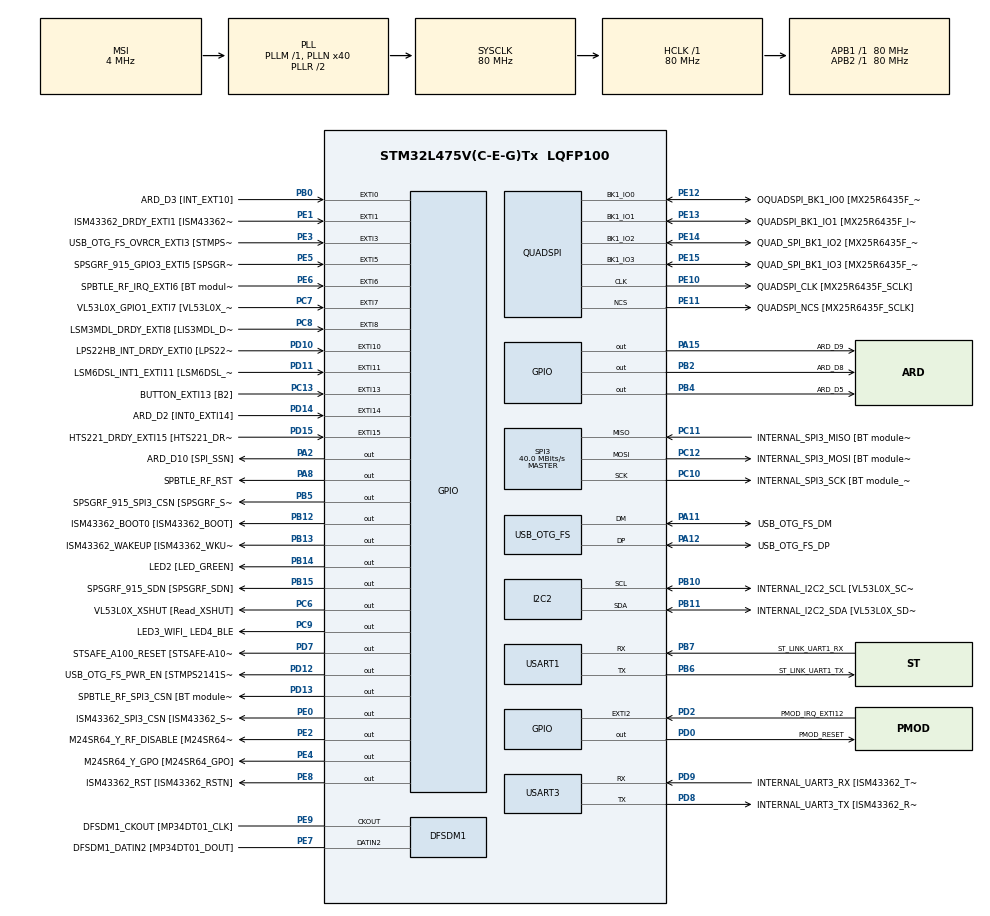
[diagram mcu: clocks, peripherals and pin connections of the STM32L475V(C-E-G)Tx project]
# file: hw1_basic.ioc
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FREERTOS.Tasks01=defaultTask,24,128,StartDefaultTask,Default,NULL,Dynamic,NULL,NULL
FREERTOS.configTOTAL_HEAP_SIZE=8000
Mcu.Family=STM32L4
Mcu.Name=STM32L475V(C-E-G)Tx
Mcu.Package=LQFP100
NVIC.EXTI15_10_IRQn=true\:5\:0\:false\:false\:true\:true\:true\:true\:true
NVIC.EXTI9_5_IRQn=true\:5\:0\:false\:false\:true\:true\:true\:true\:true
NVIC.PriorityGroup=NVIC_PRIORITYGROUP_4
NVIC.TIM6_DAC_IRQn=true\:5\:0\:false\:false\:true\:true\:true\:true\:true
PA0.GPIO_Label=ARD_D1 [UART4_TX]
PA0.Signal=UART4_TX
PA1.GPIO_Label=ARD_D0 [UART4_RX]
PA1.Signal=UART4_RX
PA10.GPIO_Label=USB_OTG_FS_ID
PA10.Signal=USB_OTG_FS_ID
PA11.GPIO_Label=USB_OTG_FS_DM
PA11.Mode=Device_Only
PA11.Signal=USB_OTG_FS_DM
PA12.GPIO_Label=USB_OTG_FS_DP
PA12.Mode=Device_Only
PA12.Signal=USB_OTG_FS_DP
PA13\ (JTMS-SWDIO).GPIO_Label=SYS_JTMS_SWDIO
PA13\ (JTMS-SWDIO).Mode=Serial_Wire
PA13\ (JTMS-SWDIO).Signal=SYS_JTMS-SWDIO
PA14\ (JTCK-SWCLK).GPIO_Label=SYS_JTCK_SWCLK
PA14\ (JTCK-SWCLK).Mode=Serial_Wire
PA14\ (JTCK-SWCLK).Signal=SYS_JTCK-SWCLK
PA15\ (JTDI).GPIO_Label=ARD_D9
PA15\ (JTDI).Signal=GPIO_Output
PA2.GPIO_Label=ARD_D10 [SPI_SSN]
PA2.Signal=GPIO_Output
PA3.GPIO_Label=ARD_D4
PA3.Signal=S_TIM2_CH4
PA4.GPIO_Label=ARD_D7
PA4.Signal=ADCx_IN9
PA5.GPIO_Label=ARD_D13 [SPI1_SCK]
PA5.Signal=SPI1_SCK
PA6.GPIO_Label=ARD_D12 [SPI1_MISO]
PA6.Signal=SPI1_MISO
PA7.GPIO_Label=ARD_D11 [SPI1_MOSI]
PA7.Signal=SPI1_MOSI
PA8.GPIO_Label=SPBTLE_RF_RST
PA8.Signal=GPIO_Output
PA9.GPIO_Label=USB_OTG_FS_VBUS [STMPS2141STR_OUT]
PA9.Signal=USB_OTG_FS_VBUS
PB0.GPIO_Label=ARD_D3 [INT_EXT10]
PB0.Signal=GPXTI0
PB1.GPIO_Label=ARD_D6 [ADC1_IN6]
PB1.Signal=ADCx_IN16
PB10.GPIO_Label=INTERNAL_I2C2_SCL [VL53L0X_SCL]
PB10.GPIO_Pu=GPIO_PULLUP
PB10.Mode=I2C
PB10.Signal=I2C2_SCL
PB11.GPIO_Label=INTERNAL_I2C2_SDA [VL53L0X_SDA]
PB11.GPIO_Pu=GPIO_PULLUP
PB11.Mode=I2C
PB11.Signal=I2C2_SDA
PB12.GPIO_Label=ISM43362_BOOT0 [ISM43362_BOOT]
PB12.Signal=GPIO_Output
PB13.GPIO_Label=ISM43362_WAKEUP [ISM43362_WKUP]
PB13.Signal=GPIO_Output
PB14.GPIO_Label=LED2 [LED_GREEN]
PB14.Signal=GPIO_Output
PB15.GPIO_Label=SPSGRF_915_SDN [SPSGRF_SDN]
PB15.Signal=GPIO_Output
PB2.GPIO_Label=ARD_D8
PB2.Signal=GPIO_Output
PB3\ (JTDO-TRACESWO).GPIO_Label=SYS_JTD0_SWO
PB3\ (JTDO-TRACESWO).Signal=SYS_JTDO-SWO
PB4\ (NJTRST).GPIO_Label=ARD_D5
PB4\ (NJTRST).Signal=GPIO_Output
PB5.GPIO_Label=SPSGRF_915_SPI3_CSN [SPSGRF_SPI_CS]
PB5.PinState=GPIO_PIN_SET
PB5.Signal=GPIO_Output
PB6.GPIO_Label=ST_LINK_UART1_TX
PB6.Mode=Asynchronous
PB6.Signal=USART1_TX
PB7.GPIO_Label=ST_LINK_UART1_RX
PB7.Mode=Asynchronous
PB7.Signal=USART1_RX
PB8.GPIO_Label=ARD_D15 [I2C1_SCL]
PB8.Signal=I2C1_SCL
PB9.GPIO_Label=ARD_D14 [I2C1_SDA]
PB9.Signal=I2C1_SDA
PC0.GPIO_Label=ARD_A5 [ADC]
PC0.Signal=ADCx_IN1
PC1.GPIO_Label=ARD_A4 [ADC]
PC1.Signal=ADCx_IN2
PC10.GPIO_Label=INTERNAL_SPI3_SCK [BT module_SPI_SCLK] [ISM43362_SCK]
PC10.Mode=Full_Duplex_Master
PC10.Signal=SPI3_SCK
PC11.GPIO_Label=INTERNAL_SPI3_MISO [BT module_SPI_MISO] [ISM43362_MISO]
PC11.Mode=Full_Duplex_Master
PC11.Signal=SPI3_MISO
PC12.GPIO_Label=INTERNAL_SPI3_MOSI [BT module_SPI_MOSI] [ISM43362_MOSI]
PC12.Mode=Full_Duplex_Master
PC12.Signal=SPI3_MOSI
PC13.GPIO_Label=BUTTON_EXTI13 [B2]
PC13.GPIO_ModeDefaultEXTI=GPIO_MODE_IT_FALLING
PC13.Signal=GPXTI13
PC14-OSC32_IN\ (PC14).Mode=LSE-External-Oscillator
PC14-OSC32_IN\ (PC14).Signal=RCC_OSC32_IN
PC15-OSC32_OUT\ (PC15).Mode=LSE-External-Oscillator
PC15-OSC32_OUT\ (PC15).Signal=RCC_OSC32_OUT
PC2.GPIO_Label=ARD_A3 [ADC]
PC2.Signal=ADCx_IN3
PC3.GPIO_Label=ARD_A2 [ADC]
PC3.Signal=ADCx_IN4
PC4.GPIO_Label=ARD_A1 [ADC]
PC4.Signal=ADCx_IN13
PC5.GPIO_Label=ARD_A0 [ADC]
PC5.Signal=ADCx_IN14
PC6.GPIO_Label=VL53L0X_XSHUT [Read_XSHUT]
PC6.Signal=GPIO_Output
PC7.GPIO_Label=VL53L0X_GPIO1_EXTI7 [VL53L0X_GPIO1]
PC7.Signal=GPXTI7
PC8.GPIO_Label=LSM3MDL_DRDY_EXTI8 [LIS3MDL_DRDY]
PC8.Signal=GPXTI8
PC9.GPIO_Label=LED3_WIFI_ LED4_BLE
PC9.Signal=GPIO_Output
PD0.GPIO_Label=PMOD_RESET
PD0.Signal=GPIO_Output
PD1.GPIO_Label=PMOD_SPI2_SCK
PD1.Signal=SPI2_SCK
PD10.GPIO_Label=LPS22HB_INT_DRDY_EXTI0 [LPS22HB_INT_DRDY] 
PD10.Signal=GPXTI10
PD11.GPIO_Label=LSM6DSL_INT1_EXTI11 [LSM6DSL_INT1]
PD11.Signal=GPXTI11
PD12.GPIO_Label=USB_OTG_FS_PWR_EN [STMPS2141STR_EN]
PD12.Signal=GPIO_Output
PD13.GPIO_Label=SPBTLE_RF_SPI3_CSN [BT module_SPI_CS]
PD13.PinState=GPIO_PIN_SET
PD13.Signal=GPIO_Output
PD14.GPIO_Label=ARD_D2 [INT0_EXTI14]
PD14.Signal=GPXTI14
PD15.GPIO_Label=HTS221_DRDY_EXTI15 [HTS221_DRDY]
PD15.Signal=GPXTI15
PD2.GPIO_Label=PMOD_IRQ_EXTI12
PD2.Signal=GPXTI2
PD3.GPIO_Label=PMOD_UART2_CTS
PD3.Signal=USART2_CTS
PD4.GPIO_Label=PMOD_UART2_RTS
PD4.Signal=USART2_RTS
PD5.GPIO_Label=PMOD_UART2_TX
PD5.Signal=USART2_TX
PD6.GPIO_Label=PMOD_UART2_RX
PD6.Signal=USART2_RX
PD7.GPIO_Label=STSAFE_A100_RESET [STSAFE-A100_RESET]
PD7.Signal=GPIO_Output
PD8.GPIO_Label=INTERNAL_UART3_TX [ISM43362_RX]
PD8.Mode=Asynchronous
PD8.Signal=USART3_TX
PD9.GPIO_Label=INTERNAL_UART3_RX [ISM43362_TX]
PD9.Mode=Asynchronous
PD9.Signal=USART3_RX
PE0.GPIO_Label=ISM43362_SPI3_CSN [ISM43362_SSN]
PE0.PinState=GPIO_PIN_SET
PE0.Signal=GPIO_Output
PE1.GPIO_Label=ISM43362_DRDY_EXTI1 [ISM43362_DATARDY]
PE1.Signal=GPXTI1
PE10.GPIO_Label=QUADSPI_CLK [MX25R6435F_SCLK]
PE10.Mode=Single Bank
PE10.Signal=QUADSPI_CLK
PE11.GPIO_Label=QUADSPI_NCS [MX25R6435F_SCLK]
PE11.Mode=Single Bank
PE11.Signal=QUADSPI_NCS
PE12.GPIO_Label=OQUADSPI_BK1_IO0 [MX25R6435F_IO0]
PE12.Mode=Single Bank
PE12.Signal=QUADSPI_BK1_IO0
PE13.GPIO_Label=QUADSPI_BK1_IO1 [MX25R6435F_IO1]
PE13.Mode=Single Bank
PE13.Signal=QUADSPI_BK1_IO1
PE14.GPIO_Label=QUAD_SPI_BK1_IO2 [MX25R6435F_IO2]
PE14.Mode=Single Bank
PE14.Signal=QUADSPI_BK1_IO2
PE15.GPIO_Label=QUAD_SPI_BK1_IO3 [MX25R6435F_IO3]
PE15.Mode=Single Bank
PE15.Signal=QUADSPI_BK1_IO3
PE2.GPIO_Label=M24SR64_Y_RF_DISABLE [M24SR64_RFDIS]
PE2.Signal=GPIO_Output
PE3.GPIO_Label=USB_OTG_FS_OVRCR_EXTI3 [STMPS2141STR_FAULT]
PE3.Signal=GPXTI3
PE4.GPIO_Label=M24SR64_Y_GPO [M24SR64_GPO]
PE4.Signal=GPIO_Output
PE5.GPIO_Label=SPSGRF_915_GPIO3_EXTI5 [SPSGRF_GPIO_3]
PE5.Signal=GPXTI5
PE6.GPIO_Label=SPBTLE_RF_IRQ_EXTI6 [BT module_SPI_IRQ]
PE6.Signal=GPXTI6
PE7.GPIO_Label=DFSDM1_DATIN2 [MP34DT01_DOUT]
PE7.Signal=S_DATAIN2DFSDM1
PE8.GPIO_Label=ISM43362_RST [ISM43362_RSTN]
PE8.Signal=GPIO_Output
PE9.GPIO_Label=DFSDM1_CKOUT [MP34DT01_CLK]
PE9.Signal=S_CKOUTDFSDM1
ProjectManager.HeapSize=0x200
ProjectManager.StackSize=0x400
ProjectManager.TargetToolchain=STM32CubeIDE
QUADSPI.ClockPrescaler=2
QUADSPI.FifoThreshold=4
QUADSPI.FlashSize=23
QUADSPI.SampleShifting=QSPI_SAMPLE_SHIFTING_HALFCYCLE
RCC.ADCFreq_Value=48000000
RCC.AHBFreq_Value=80000000
RCC.APB1Freq_Value=80000000
RCC.APB1TimFreq_Value=80000000
RCC.APB2Freq_Value=80000000
RCC.APB2TimFreq_Value=80000000
RCC.CortexFreq_Value=80000000
RCC.HCLKFreq_Value=80000000
RCC.HSE_VALUE=8000000
RCC.HSI_VALUE=16000000
RCC.MSI_VALUE=4000000
RCC.PLLN=40
RCC.PLLSAI1N=24
RCC.SYSCLKFreq_VALUE=80000000
RCC.SYSCLKSource=RCC_SYSCLKSOURCE_PLLCLK
RCC.USBFreq_Value=48000000
RCC.VCOOutputFreq_Value=160000000
SH.ADCx_IN1.0=ADC1_IN1
SH.ADCx_IN13.0=ADC1_IN13
SH.ADCx_IN14.0=ADC1_IN14
SH.ADCx_IN16.0=ADC1_IN16
SH.ADCx_IN2.0=ADC1_IN2
SH.ADCx_IN3.0=ADC1_IN3
SH.ADCx_IN4.0=ADC1_IN4
SH.ADCx_IN9.0=ADC1_IN9
SH.S_CKOUTDFSDM1.0=DFSDM1_CKOUT,CKOUT
SH.S_CKOUTDFSDM1.1=DFSDM1_CKOUT,PDM_SPI_Input_from_ch12_and_Internal_Clock
SH.S_DATAIN2DFSDM1.0=DFSDM1_DATIN2,PDM_SPI_Input_from_ch12_and_Internal_Clock
SH.S_TIM2_CH4.0=TIM2_CH4
SPI3.CalculateBaudRate=40.0 MBits/s
SPI3.Direction=SPI_DIRECTION_2LINES
SPI3.Mode=SPI_MODE_MASTER
SPI3.VirtualType=VM_MASTER
TIM6.Period=49999
TIM6.Prescaler=15999
USART1.VirtualMode-Asynchronous=VM_ASYNC
USART3.VirtualMode-Asynchronous=VM_ASYNC
USB_OTG_FS.VirtualMode=Device_Only
VP_FREERTOS_VS_CMSIS_V2.Mode=CMSIS_V2
VP_TIM6_VS_ClockSourceINT.Mode=Enable_Timer
board=B-L475E-IOT01A2

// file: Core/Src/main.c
/* USER CODE BEGIN Header */
/**
  ******************************************************************************
  * @file           : main.c
  * @brief          : Main program body
  ******************************************************************************
  * @attention
  *
  * Copyright (c) 2025 STMicroelectronics.
  * All rights reserved.
  *
  * This software is licensed under terms that can be found in the LICENSE file
  * in the root directory of this software component.
  * If no LICENSE file comes with this software, it is provided AS-IS.
  *
  ******************************************************************************
  */
/* USER CODE END Header */
#include "main.h"
#include "cmsis_os.h"

/* USER CODE BEGIN Includes */
#include "cmsis_os2.h"
#include <stdbool.h>
/* USER CODE END Includes */

DFSDM_Channel_HandleTypeDef hdfsdm1_channel1;

I2C_HandleTypeDef hi2c2;

QSPI_HandleTypeDef hqspi;

SPI_HandleTypeDef hspi3;

TIM_HandleTypeDef htim6;

UART_HandleTypeDef huart1;
UART_HandleTypeDef huart3;

PCD_HandleTypeDef hpcd_USB_OTG_FS;

/* Definitions for defaultTask */
osThreadId_t defaultTaskHandle;
const osThreadAttr_t defaultTask_attributes = {
  .name = "defaultTask",
  .stack_size = 128 * 4,
  .priority = (osPriority_t) osPriorityNormal,
};
/* USER CODE BEGIN PV */
osThreadId_t task1Handle, task2Handle;
osMutexId_t  gBlinkMutex;
osSemaphoreId_t semBtn;
osSemaphoreId_t semTimer;
/* USER CODE END PV */

void SystemClock_Config(void);
static void MX_GPIO_Init(void);
static void MX_DFSDM1_Init(void);
static void MX_I2C2_Init(void);
static void MX_QUADSPI_Init(void);
static void MX_SPI3_Init(void);
static void MX_USART1_UART_Init(void);
static void MX_USART3_UART_Init(void);
static void MX_USB_OTG_FS_PCD_Init(void);
static void MX_TIM6_Init(void);
void StartDefaultTask(void *argument);

/* USER CODE BEGIN PFP */
static void Task1(void *argument);
static void Task2(void *argument);
static void blink_blocking(uint32_t duration_ms, float hz);
/* USER CODE END PFP */

/* USER CODE BEGIN 0 */
static void blink_blocking(uint32_t duration_ms, float hz)
{
  osMutexAcquire(gBlinkMutex, osWaitForever);

  uint32_t period_ms = (uint32_t)(1000.0f / hz);
  uint32_t elapsed = 0;

  while (elapsed < duration_ms) {
    HAL_GPIO_TogglePin(LED2_GPIO_Port, LED2_Pin);
    osDelay(period_ms / 2);
    elapsed += period_ms / 2;

    HAL_GPIO_TogglePin(LED2_GPIO_Port, LED2_Pin);
    osDelay(period_ms / 2);
    elapsed += period_ms / 2;
  }

  HAL_GPIO_WritePin(LED2_GPIO_Port, LED2_Pin, GPIO_PIN_RESET);

  osMutexRelease(gBlinkMutex);
}

static void Task1(void *argument)
{
  (void)argument;
  for (;;) {
    if (osSemaphoreAcquire(semBtn, osWaitForever) == osOK) {
      blink_blocking(5000, 1.0f);
    }
  }
}

static void Task2(void *argument)
{
  (void)argument;
  for (;;) {
    if (osSemaphoreAcquire(semTimer, osWaitForever) == osOK) {
      blink_blocking(2000, 10.0f);
    }
  }
}

void HAL_GPIO_EXTI_Callback(uint16_t GPIO_Pin)
{
  if (GPIO_Pin == BUTTON_EXTI13_Pin) {
    osSemaphoreRelease(semBtn);
  }
}
void HAL_TIM_PeriodElapsedCallback(TIM_HandleTypeDef *htim)
{
  if (htim->Instance == TIM6) {
    osSemaphoreRelease(semTimer);
  }
}

/* USER CODE END 0 */

int main(void)
{

  /* MCU Configuration--------------------------------------------------------*/

  /* Reset of all peripherals, Initializes the Flash interface and the Systick. */
  HAL_Init();

  /* Configure the system clock */
  SystemClock_Config();

  /* Initialize all configured peripherals */
  MX_GPIO_Init();
  MX_DFSDM1_Init();
  MX_I2C2_Init();
  MX_QUADSPI_Init();
  MX_SPI3_Init();
  MX_USART1_UART_Init();
  MX_USART3_UART_Init();
  MX_USB_OTG_FS_PCD_Init();
  MX_TIM6_Init();
  /* USER CODE BEGIN 2 */
  HAL_TIM_Base_Start_IT(&htim6);
  /* USER CODE END 2 */

  /* Init scheduler */
  osKernelInitialize();

  /* USER CODE BEGIN RTOS_MUTEX */
  /* add mutexes, ... */

  const osMutexAttr_t mtxAttr = { .name = "blinkMutex" };
  gBlinkMutex = osMutexNew(&mtxAttr);
  /* USER CODE END RTOS_MUTEX */

  /* USER CODE BEGIN RTOS_SEMAPHORES */
  /* add semaphores, ... */
  const osSemaphoreAttr_t semBtnAttr = { .name = "semBtn" };
    semBtn   = osSemaphoreNew(1, 0, &semBtnAttr);

  /* USER CODE END RTOS_SEMAPHORES */

  /* USER CODE BEGIN RTOS_TIMERS */
    const osSemaphoreAttr_t semTmrAttr = { .name = "semTimer" };
      semTimer = osSemaphoreNew(1, 0, &semTmrAttr);

  /* start timers, add new ones, ... */
  /* USER CODE END RTOS_TIMERS */

  /* Create the thread(s) */
  /* creation of defaultTask */
  defaultTaskHandle = osThreadNew(StartDefaultTask, NULL, &defaultTask_attributes);

  /* USER CODE BEGIN RTOS_THREADS */
  /* add threads, ... */
  const osThreadAttr_t t1Attr = {
    .name = "Task_1",
    .priority = osPriorityBelowNormal,
    .stack_size = 512
  };
  task1Handle = osThreadNew(Task1, NULL, &t1Attr);

  const osThreadAttr_t t2Attr = {
    .name = "Task_2",
    .priority = osPriorityNormal,
    .stack_size = 512
  };
  task2Handle = osThreadNew(Task2, NULL, &t2Attr);
  /* USER CODE END RTOS_THREADS */

  /* Start scheduler */
  osKernelStart();

  /* We should never get here as control is now taken by the scheduler */

  /* Infinite loop */
  while (1)
  {

  }
}

void SystemClock_Config(void)
{
  RCC_OscInitTypeDef RCC_OscInitStruct = {0};
  RCC_ClkInitTypeDef RCC_ClkInitStruct = {0};

  /** Configure the main internal regulator output voltage
  */
  if (HAL_PWREx_ControlVoltageScaling(PWR_REGULATOR_VOLTAGE_SCALE1) != HAL_OK)
  {
    Error_Handler();
  }

  /** Configure LSE Drive Capability
  */
  HAL_PWR_EnableBkUpAccess();
  __HAL_RCC_LSEDRIVE_CONFIG(RCC_LSEDRIVE_LOW);

  /** Initializes the RCC Oscillators according to the specified parameters
  * in the RCC_OscInitTypeDef structure.
  */
  RCC_OscInitStruct.OscillatorType = RCC_OSCILLATORTYPE_LSE|RCC_OSCILLATORTYPE_MSI;
  RCC_OscInitStruct.LSEState = RCC_LSE_ON;
  RCC_OscInitStruct.MSIState = RCC_MSI_ON;
  RCC_OscInitStruct.MSICalibrationValue = 0;
  RCC_OscInitStruct.MSIClockRange = RCC_MSIRANGE_6;
  RCC_OscInitStruct.PLL.PLLState = RCC_PLL_ON;
  RCC_OscInitStruct.PLL.PLLSource = RCC_PLLSOURCE_MSI;
  RCC_OscInitStruct.PLL.PLLM = 1;
  RCC_OscInitStruct.PLL.PLLN = 40;
  RCC_OscInitStruct.PLL.PLLP = RCC_PLLP_DIV7;
  RCC_OscInitStruct.PLL.PLLQ = RCC_PLLQ_DIV2;
  RCC_OscInitStruct.PLL.PLLR = RCC_PLLR_DIV2;
  if (HAL_RCC_OscConfig(&RCC_OscInitStruct) != HAL_OK)
  {
    Error_Handler();
  }

  /** Initializes the CPU, AHB and APB buses clocks
  */
  RCC_ClkInitStruct.ClockType = RCC_CLOCKTYPE_HCLK|RCC_CLOCKTYPE_SYSCLK
                              |RCC_CLOCKTYPE_PCLK1|RCC_CLOCKTYPE_PCLK2;
  RCC_ClkInitStruct.SYSCLKSource = RCC_SYSCLKSOURCE_PLLCLK;
  RCC_ClkInitStruct.AHBCLKDivider = RCC_SYSCLK_DIV1;
  RCC_ClkInitStruct.APB1CLKDivider = RCC_HCLK_DIV1;
  RCC_ClkInitStruct.APB2CLKDivider = RCC_HCLK_DIV1;

  if (HAL_RCC_ClockConfig(&RCC_ClkInitStruct, FLASH_LATENCY_4) != HAL_OK)
  {
    Error_Handler();
  }

  /** Enable MSI Auto calibration
  */
  HAL_RCCEx_EnableMSIPLLMode();
}

static void MX_DFSDM1_Init(void)
{

  hdfsdm1_channel1.Instance = DFSDM1_Channel1;
  hdfsdm1_channel1.Init.OutputClock.Activation = ENABLE;
  hdfsdm1_channel1.Init.OutputClock.Selection = DFSDM_CHANNEL_OUTPUT_CLOCK_SYSTEM;
  hdfsdm1_channel1.Init.OutputClock.Divider = 2;
  hdfsdm1_channel1.Init.Input.Multiplexer = DFSDM_CHANNEL_EXTERNAL_INPUTS;
  hdfsdm1_channel1.Init.Input.DataPacking = DFSDM_CHANNEL_STANDARD_MODE;
  hdfsdm1_channel1.Init.Input.Pins = DFSDM_CHANNEL_FOLLOWING_CHANNEL_PINS;
  hdfsdm1_channel1.Init.SerialInterface.Type = DFSDM_CHANNEL_SPI_RISING;
  hdfsdm1_channel1.Init.SerialInterface.SpiClock = DFSDM_CHANNEL_SPI_CLOCK_INTERNAL;
  hdfsdm1_channel1.Init.Awd.FilterOrder = DFSDM_CHANNEL_FASTSINC_ORDER;
  hdfsdm1_channel1.Init.Awd.Oversampling = 1;
  hdfsdm1_channel1.Init.Offset = 0;
  hdfsdm1_channel1.Init.RightBitShift = 0x00;
  if (HAL_DFSDM_ChannelInit(&hdfsdm1_channel1) != HAL_OK)
  {
    Error_Handler();
  }

}

static void MX_I2C2_Init(void)
{

  hi2c2.Instance = I2C2;
  hi2c2.Init.Timing = 0x10D19CE4;
  hi2c2.Init.OwnAddress1 = 0;
  hi2c2.Init.AddressingMode = I2C_ADDRESSINGMODE_7BIT;
  hi2c2.Init.DualAddressMode = I2C_DUALADDRESS_DISABLE;
  hi2c2.Init.OwnAddress2 = 0;
  hi2c2.Init.OwnAddress2Masks = I2C_OA2_NOMASK;
  hi2c2.Init.GeneralCallMode = I2C_GENERALCALL_DISABLE;
  hi2c2.Init.NoStretchMode = I2C_NOSTRETCH_DISABLE;
  if (HAL_I2C_Init(&hi2c2) != HAL_OK)
  {
    Error_Handler();
  }

  /** Configure Analogue filter
  */
  if (HAL_I2CEx_ConfigAnalogFilter(&hi2c2, I2C_ANALOGFILTER_ENABLE) != HAL_OK)
  {
    Error_Handler();
  }

  /** Configure Digital filter
  */
  if (HAL_I2CEx_ConfigDigitalFilter(&hi2c2, 0) != HAL_OK)
  {
    Error_Handler();
  }

}

static void MX_QUADSPI_Init(void)
{

  /* QUADSPI parameter configuration*/
  hqspi.Instance = QUADSPI;
  hqspi.Init.ClockPrescaler = 2;
  hqspi.Init.FifoThreshold = 4;
  hqspi.Init.SampleShifting = QSPI_SAMPLE_SHIFTING_HALFCYCLE;
  hqspi.Init.FlashSize = 23;
  hqspi.Init.ChipSelectHighTime = QSPI_CS_HIGH_TIME_1_CYCLE;
  hqspi.Init.ClockMode = QSPI_CLOCK_MODE_0;
  if (HAL_QSPI_Init(&hqspi) != HAL_OK)
  {
    Error_Handler();
  }

}

static void MX_SPI3_Init(void)
{

  /* SPI3 parameter configuration*/
  hspi3.Instance = SPI3;
  hspi3.Init.Mode = SPI_MODE_MASTER;
  hspi3.Init.Direction = SPI_DIRECTION_2LINES;
  hspi3.Init.DataSize = SPI_DATASIZE_4BIT;
  hspi3.Init.CLKPolarity = SPI_POLARITY_LOW;
  hspi3.Init.CLKPhase = SPI_PHASE_1EDGE;
  hspi3.Init.NSS = SPI_NSS_SOFT;
  hspi3.Init.BaudRatePrescaler = SPI_BAUDRATEPRESCALER_2;
  hspi3.Init.FirstBit = SPI_FIRSTBIT_MSB;
  hspi3.Init.TIMode = SPI_TIMODE_DISABLE;
  hspi3.Init.CRCCalculation = SPI_CRCCALCULATION_DISABLE;
  hspi3.Init.CRCPolynomial = 7;
  hspi3.Init.CRCLength = SPI_CRC_LENGTH_DATASIZE;
  hspi3.Init.NSSPMode = SPI_NSS_PULSE_ENABLE;
  if (HAL_SPI_Init(&hspi3) != HAL_OK)
  {
    Error_Handler();
  }

}

static void MX_TIM6_Init(void)
{

  TIM_MasterConfigTypeDef sMasterConfig = {0};

  htim6.Instance = TIM6;
  htim6.Init.Prescaler = 15999;
  htim6.Init.CounterMode = TIM_COUNTERMODE_UP;
  htim6.Init.Period = 49999;
  htim6.Init.AutoReloadPreload = TIM_AUTORELOAD_PRELOAD_DISABLE;
  if (HAL_TIM_Base_Init(&htim6) != HAL_OK)
  {
    Error_Handler();
  }
  sMasterConfig.MasterOutputTrigger = TIM_TRGO_RESET;
  sMasterConfig.MasterSlaveMode = TIM_MASTERSLAVEMODE_DISABLE;
  if (HAL_TIMEx_MasterConfigSynchronization(&htim6, &sMasterConfig) != HAL_OK)
  {
    Error_Handler();
  }

}

static void MX_USART1_UART_Init(void)
{

  huart1.Instance = USART1;
  huart1.Init.BaudRate = 115200;
  huart1.Init.WordLength = UART_WORDLENGTH_8B;
  huart1.Init.StopBits = UART_STOPBITS_1;
  huart1.Init.Parity = UART_PARITY_NONE;
  huart1.Init.Mode = UART_MODE_TX_RX;
  huart1.Init.HwFlowCtl = UART_HWCONTROL_NONE;
  huart1.Init.OverSampling = UART_OVERSAMPLING_16;
  huart1.Init.OneBitSampling = UART_ONE_BIT_SAMPLE_DISABLE;
  huart1.AdvancedInit.AdvFeatureInit = UART_ADVFEATURE_NO_INIT;
  if (HAL_UART_Init(&huart1) != HAL_OK)
  {
    Error_Handler();
  }

}

static void MX_USART3_UART_Init(void)
{

  huart3.Instance = USART3;
  huart3.Init.BaudRate = 115200;
  huart3.Init.WordLength = UART_WORDLENGTH_8B;
  huart3.Init.StopBits = UART_STOPBITS_1;
  huart3.Init.Parity = UART_PARITY_NONE;
  huart3.Init.Mode = UART_MODE_TX_RX;
  huart3.Init.HwFlowCtl = UART_HWCONTROL_NONE;
  huart3.Init.OverSampling = UART_OVERSAMPLING_16;
  huart3.Init.OneBitSampling = UART_ONE_BIT_SAMPLE_DISABLE;
  huart3.AdvancedInit.AdvFeatureInit = UART_ADVFEATURE_NO_INIT;
  if (HAL_UART_Init(&huart3) != HAL_OK)
  {
    Error_Handler();
  }

}

static void MX_USB_OTG_FS_PCD_Init(void)
{

  hpcd_USB_OTG_FS.Instance = USB_OTG_FS;
  hpcd_USB_OTG_FS.Init.dev_endpoints = 6;
  hpcd_USB_OTG_FS.Init.speed = PCD_SPEED_FULL;
  hpcd_USB_OTG_FS.Init.phy_itface = PCD_PHY_EMBEDDED;
  hpcd_USB_OTG_FS.Init.Sof_enable = DISABLE;
  hpcd_USB_OTG_FS.Init.low_power_enable = DISABLE;
  hpcd_USB_OTG_FS.Init.lpm_enable = DISABLE;
  hpcd_USB_OTG_FS.Init.battery_charging_enable = DISABLE;
  hpcd_USB_OTG_FS.Init.use_dedicated_ep1 = DISABLE;
  hpcd_USB_OTG_FS.Init.vbus_sensing_enable = DISABLE;
  if (HAL_PCD_Init(&hpcd_USB_OTG_FS) != HAL_OK)
  {
    Error_Handler();
  }

}

static void MX_GPIO_Init(void)
{
  GPIO_InitTypeDef GPIO_InitStruct = {0};

  /* GPIO Ports Clock Enable */
  __HAL_RCC_GPIOE_CLK_ENABLE();
  __HAL_RCC_GPIOC_CLK_ENABLE();
  __HAL_RCC_GPIOA_CLK_ENABLE();
  __HAL_RCC_GPIOB_CLK_ENABLE();
  __HAL_RCC_GPIOD_CLK_ENABLE();

  /*Configure GPIO pin Output Level */
  HAL_GPIO_WritePin(GPIOE, M24SR64_Y_RF_DISABLE_Pin|M24SR64_Y_GPO_Pin|ISM43362_RST_Pin, GPIO_PIN_RESET);

  /*Configure GPIO pin Output Level */
  HAL_GPIO_WritePin(GPIOA, ARD_D10_Pin|SPBTLE_RF_RST_Pin|ARD_D9_Pin, GPIO_PIN_RESET);

  /*Configure GPIO pin Output Level */
  HAL_GPIO_WritePin(GPIOB, ARD_D8_Pin|ISM43362_BOOT0_Pin|ISM43362_WAKEUP_Pin|LED2_Pin
                          |SPSGRF_915_SDN_Pin|ARD_D5_Pin, GPIO_PIN_RESET);

  /*Configure GPIO pin Output Level */
  HAL_GPIO_WritePin(GPIOD, USB_OTG_FS_PWR_EN_Pin|PMOD_RESET_Pin|STSAFE_A100_RESET_Pin, GPIO_PIN_RESET);

  /*Configure GPIO pin Output Level */
  HAL_GPIO_WritePin(SPBTLE_RF_SPI3_CSN_GPIO_Port, SPBTLE_RF_SPI3_CSN_Pin, GPIO_PIN_SET);

  /*Configure GPIO pin Output Level */
  HAL_GPIO_WritePin(GPIOC, VL53L0X_XSHUT_Pin|LED3_WIFI__LED4_BLE_Pin, GPIO_PIN_RESET);

  /*Configure GPIO pin Output Level */
  HAL_GPIO_WritePin(SPSGRF_915_SPI3_CSN_GPIO_Port, SPSGRF_915_SPI3_CSN_Pin, GPIO_PIN_SET);

  /*Configure GPIO pin Output Level */
  HAL_GPIO_WritePin(ISM43362_SPI3_CSN_GPIO_Port, ISM43362_SPI3_CSN_Pin, GPIO_PIN_SET);

  /*Configure GPIO pins : M24SR64_Y_RF_DISABLE_Pin M24SR64_Y_GPO_Pin ISM43362_RST_Pin ISM43362_SPI3_CSN_Pin */
  GPIO_InitStruct.Pin = M24SR64_Y_RF_DISABLE_Pin|M24SR64_Y_GPO_Pin|ISM43362_RST_Pin|ISM43362_SPI3_CSN_Pin;
  GPIO_InitStruct.Mode = GPIO_MODE_OUTPUT_PP;
  GPIO_InitStruct.Pull = GPIO_NOPULL;
  GPIO_InitStruct.Speed = GPIO_SPEED_FREQ_LOW;
  HAL_GPIO_Init(GPIOE, &GPIO_InitStruct);

  /*Configure GPIO pins : USB_OTG_FS_OVRCR_EXTI3_Pin SPSGRF_915_GPIO3_EXTI5_Pin SPBTLE_RF_IRQ_EXTI6_Pin ISM43362_DRDY_EXTI1_Pin */
  GPIO_InitStruct.Pin = USB_OTG_FS_OVRCR_EXTI3_Pin|SPSGRF_915_GPIO3_EXTI5_Pin|SPBTLE_RF_IRQ_EXTI6_Pin|ISM43362_DRDY_EXTI1_Pin;
  GPIO_InitStruct.Mode = GPIO_MODE_IT_RISING;
  GPIO_InitStruct.Pull = GPIO_NOPULL;
  HAL_GPIO_Init(GPIOE, &GPIO_InitStruct);

  /*Configure GPIO pin : BUTTON_EXTI13_Pin */
  GPIO_InitStruct.Pin = BUTTON_EXTI13_Pin;
  GPIO_InitStruct.Mode = GPIO_MODE_IT_FALLING;
  GPIO_InitStruct.Pull = GPIO_NOPULL;
  HAL_GPIO_Init(BUTTON_EXTI13_GPIO_Port, &GPIO_InitStruct);

  /*Configure GPIO pins : ARD_A5_Pin ARD_A4_Pin ARD_A3_Pin ARD_A2_Pin
                           ARD_A1_Pin ARD_A0_Pin */
  GPIO_InitStruct.Pin = ARD_A5_Pin|ARD_A4_Pin|ARD_A3_Pin|ARD_A2_Pin
                          |ARD_A1_Pin|ARD_A0_Pin;
  GPIO_InitStruct.Mode = GPIO_MODE_ANALOG_ADC_CONTROL;
  GPIO_InitStruct.Pull = GPIO_NOPULL;
  HAL_GPIO_Init(GPIOC, &GPIO_InitStruct);

  /*Configure GPIO pins : ARD_D1_Pin ARD_D0_Pin */
  GPIO_InitStruct.Pin = ARD_D1_Pin|ARD_D0_Pin;
  GPIO_InitStruct.Mode = GPIO_MODE_AF_PP;
  GPIO_InitStruct.Pull = GPIO_NOPULL;
  GPIO_InitStruct.Speed = GPIO_SPEED_FREQ_VERY_HIGH;
  GPIO_InitStruct.Alternate = GPIO_AF8_UART4;
  HAL_GPIO_Init(GPIOA, &GPIO_InitStruct);

  /*Configure GPIO pins : ARD_D10_Pin SPBTLE_RF_RST_Pin ARD_D9_Pin */
  GPIO_InitStruct.Pin = ARD_D10_Pin|SPBTLE_RF_RST_Pin|ARD_D9_Pin;
  GPIO_InitStruct.Mode = GPIO_MODE_OUTPUT_PP;
  GPIO_InitStruct.Pull = GPIO_NOPULL;
  GPIO_InitStruct.Speed = GPIO_SPEED_FREQ_LOW;
  HAL_GPIO_Init(GPIOA, &GPIO_InitStruct);

  /*Configure GPIO pin : ARD_D4_Pin */
  GPIO_InitStruct.Pin = ARD_D4_Pin;
  GPIO_InitStruct.Mode = GPIO_MODE_AF_PP;
  GPIO_InitStruct.Pull = GPIO_NOPULL;
  GPIO_InitStruct.Speed = GPIO_SPEED_FREQ_LOW;
  GPIO_InitStruct.Alternate = GPIO_AF1_TIM2;
  HAL_GPIO_Init(ARD_D4_GPIO_Port, &GPIO_InitStruct);

  /*Configure GPIO pin : ARD_D7_Pin */
  GPIO_InitStruct.Pin = ARD_D7_Pin;
  GPIO_InitStruct.Mode = GPIO_MODE_ANALOG_ADC_CONTROL;
  GPIO_InitStruct.Pull = GPIO_NOPULL;
  HAL_GPIO_Init(ARD_D7_GPIO_Port, &GPIO_InitStruct);

  /*Configure GPIO pins : ARD_D13_Pin ARD_D12_Pin ARD_D11_Pin */
  GPIO_InitStruct.Pin = ARD_D13_Pin|ARD_D12_Pin|ARD_D11_Pin;
  GPIO_InitStruct.Mode = GPIO_MODE_AF_PP;
  GPIO_InitStruct.Pull = GPIO_NOPULL;
  GPIO_InitStruct.Speed = GPIO_SPEED_FREQ_VERY_HIGH;
  GPIO_InitStruct.Alternate = GPIO_AF5_SPI1;
  HAL_GPIO_Init(GPIOA, &GPIO_InitStruct);

  /*Configure GPIO pin : ARD_D3_Pin */
  GPIO_InitStruct.Pin = ARD_D3_Pin;
  GPIO_InitStruct.Mode = GPIO_MODE_IT_RISING;
  GPIO_InitStruct.Pull = GPIO_NOPULL;
  HAL_GPIO_Init(ARD_D3_GPIO_Port, &GPIO_InitStruct);

  /*Configure GPIO pin : ARD_D6_Pin */
  GPIO_InitStruct.Pin = ARD_D6_Pin;
  GPIO_InitStruct.Mode = GPIO_MODE_ANALOG_ADC_CONTROL;
  GPIO_InitStruct.Pull = GPIO_NOPULL;
  HAL_GPIO_Init(ARD_D6_GPIO_Port, &GPIO_InitStruct);

  /*Configure GPIO pins : ARD_D8_Pin ISM43362_BOOT0_Pin ISM43362_WAKEUP_Pin LED2_Pin
                           SPSGRF_915_SDN_Pin ARD_D5_Pin SPSGRF_915_SPI3_CSN_Pin */
  GPIO_InitStruct.Pin = ARD_D8_Pin|ISM43362_BOOT0_Pin|ISM43362_WAKEUP_Pin|LED2_Pin
                          |SPSGRF_915_SDN_Pin|ARD_D5_Pin|SPSGRF_915_SPI3_CSN_Pin;
  GPIO_InitStruct.Mode = GPIO_MODE_OUTPUT_PP;
  GPIO_InitStruct.Pull = GPIO_NOPULL;
  GPIO_InitStruct.Speed = GPIO_SPEED_FREQ_LOW;
  HAL_GPIO_Init(GPIOB, &GPIO_InitStruct);

  /*Configure GPIO pins : LPS22HB_INT_DRDY_EXTI0_Pin LSM6DSL_INT1_EXTI11_Pin ARD_D2_Pin HTS221_DRDY_EXTI15_Pin
                           PMOD_IRQ_EXTI12_Pin */
  GPIO_InitStruct.Pin = LPS22HB_INT_DRDY_EXTI0_Pin|LSM6DSL_INT1_EXTI11_Pin|ARD_D2_Pin|HTS221_DRDY_EXTI15_Pin
                          |PMOD_IRQ_EXTI12_Pin;
  GPIO_InitStruct.Mode = GPIO_MODE_IT_RISING;
  GPIO_InitStruct.Pull = GPIO_NOPULL;
  HAL_GPIO_Init(GPIOD, &GPIO_InitStruct);

  /*Configure GPIO pins : USB_OTG_FS_PWR_EN_Pin SPBTLE_RF_SPI3_CSN_Pin PMOD_RESET_Pin STSAFE_A100_RESET_Pin */
  GPIO_InitStruct.Pin = USB_OTG_FS_PWR_EN_Pin|SPBTLE_RF_SPI3_CSN_Pin|PMOD_RESET_Pin|STSAFE_A100_RESET_Pin;
  GPIO_InitStruct.Mode = GPIO_MODE_OUTPUT_PP;
  GPIO_InitStruct.Pull = GPIO_NOPULL;
  GPIO_InitStruct.Speed = GPIO_SPEED_FREQ_LOW;
  HAL_GPIO_Init(GPIOD, &GPIO_InitStruct);

  /*Configure GPIO pins : VL53L0X_XSHUT_Pin LED3_WIFI__LED4_BLE_Pin */
  GPIO_InitStruct.Pin = VL53L0X_XSHUT_Pin|LED3_WIFI__LED4_BLE_Pin;
  GPIO_InitStruct.Mode = GPIO_MODE_OUTPUT_PP;
  GPIO_InitStruct.Pull = GPIO_NOPULL;
  GPIO_InitStruct.Speed = GPIO_SPEED_FREQ_LOW;
  HAL_GPIO_Init(GPIOC, &GPIO_InitStruct);

  /*Configure GPIO pins : VL53L0X_GPIO1_EXTI7_Pin LSM3MDL_DRDY_EXTI8_Pin */
  GPIO_InitStruct.Pin = VL53L0X_GPIO1_EXTI7_Pin|LSM3MDL_DRDY_EXTI8_Pin;
  GPIO_InitStruct.Mode = GPIO_MODE_IT_RISING;
  GPIO_InitStruct.Pull = GPIO_NOPULL;
  HAL_GPIO_Init(GPIOC, &GPIO_InitStruct);

  /*Configure GPIO pin : PMOD_SPI2_SCK_Pin */
  GPIO_InitStruct.Pin = PMOD_SPI2_SCK_Pin;
  GPIO_InitStruct.Mode = GPIO_MODE_AF_PP;
  GPIO_InitStruct.Pull = GPIO_NOPULL;
  GPIO_InitStruct.Speed = GPIO_SPEED_FREQ_VERY_HIGH;
  GPIO_InitStruct.Alternate = GPIO_AF5_SPI2;
  HAL_GPIO_Init(PMOD_SPI2_SCK_GPIO_Port, &GPIO_InitStruct);

  /*Configure GPIO pins : PMOD_UART2_CTS_Pin PMOD_UART2_RTS_Pin PMOD_UART2_TX_Pin PMOD_UART2_RX_Pin */
  GPIO_InitStruct.Pin = PMOD_UART2_CTS_Pin|PMOD_UART2_RTS_Pin|PMOD_UART2_TX_Pin|PMOD_UART2_RX_Pin;
  GPIO_InitStruct.Mode = GPIO_MODE_AF_PP;
  GPIO_InitStruct.Pull = GPIO_NOPULL;
  GPIO_InitStruct.Speed = GPIO_SPEED_FREQ_VERY_HIGH;
  GPIO_InitStruct.Alternate = GPIO_AF7_USART2;
  HAL_GPIO_Init(GPIOD, &GPIO_InitStruct);

  /*Configure GPIO pins : ARD_D15_Pin ARD_D14_Pin */
  GPIO_InitStruct.Pin = ARD_D15_Pin|ARD_D14_Pin;
  GPIO_InitStruct.Mode = GPIO_MODE_AF_OD;
  GPIO_InitStruct.Pull = GPIO_NOPULL;
  GPIO_InitStruct.Speed = GPIO_SPEED_FREQ_VERY_HIGH;
  GPIO_InitStruct.Alternate = GPIO_AF4_I2C1;
  HAL_GPIO_Init(GPIOB, &GPIO_InitStruct);

  /* EXTI interrupt init*/
  HAL_NVIC_SetPriority(EXTI9_5_IRQn, 5, 0);
  HAL_NVIC_EnableIRQ(EXTI9_5_IRQn);

  HAL_NVIC_SetPriority(EXTI15_10_IRQn, 5, 0);
  HAL_NVIC_EnableIRQ(EXTI15_10_IRQn);

}

void StartDefaultTask(void *argument)
{
  for(;;)
  {
    osDelay(1);
  }
}

void Error_Handler(void)
{
  __disable_irq();
  while (1)
  {
  }
}
